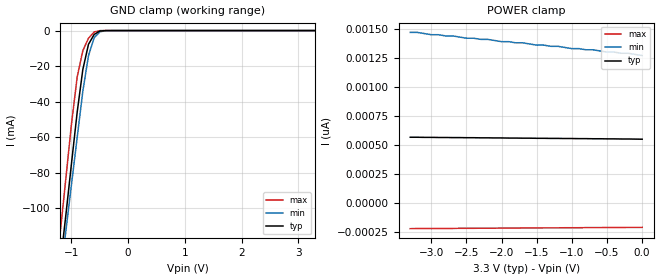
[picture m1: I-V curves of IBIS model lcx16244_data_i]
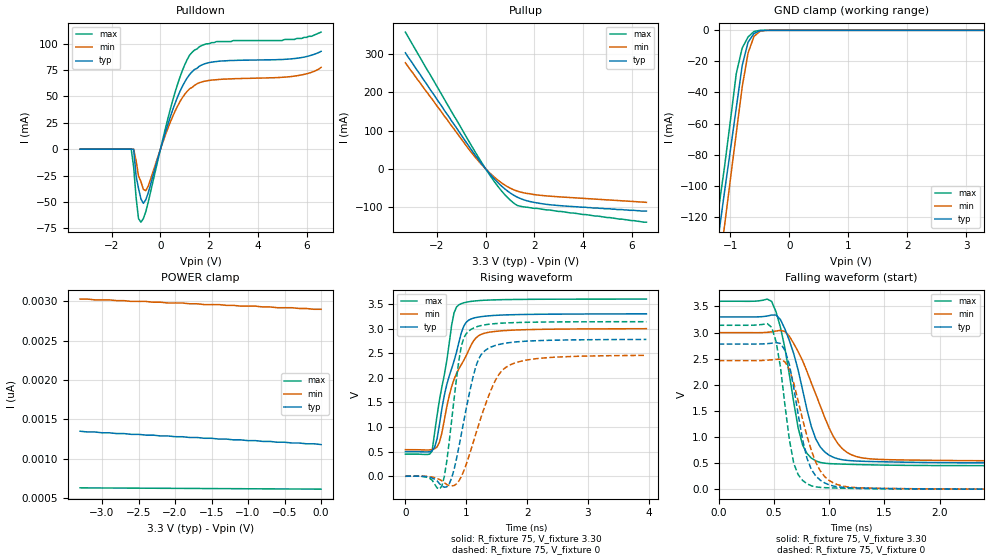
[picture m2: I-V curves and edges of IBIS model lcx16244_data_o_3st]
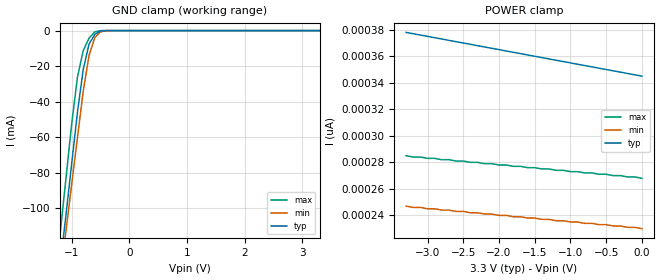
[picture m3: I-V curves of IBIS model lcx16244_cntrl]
|   ON Semiconductor Corporation
|   IBIS Model of 74LCX16244DT
|   Low Voltage 16-Bit Buffer
|   TSSOP_48 (DT) Package Type
[IBIS Ver]   3.2
[Comment Char]   |_char
[File name]   74lcx16244dt_c300.ibs
[File Rev]   1.0
[Date]   06/09/04
[Source]
From DC lab measurements and simulations for AC at ON Semiconductor
[Notes]
Created by Duane Mattheisen
Modeling Support Engineer
| This model represents the 74LCX16244DT where 3.0<= Vcc =< 3.6
[Disclaimer]
ON Semiconductor Corporation hereby grants
the user of this IBIS model a license to use this IBIS
model under the following terms. This license in non-exclusive
and non-transferable. Before using this IBIS model. After reading
the terms and conditions of this license, the user either must accept
these terms, or the IBIS model should be returned to ON within 30 days.
     The user is hereby granted a license to use the
IBIS model. This shall not be construed as a right to sell, or otherwise
profit either by leasing or renting this software.
     The user may modify the IBIS model to suit his specific applications
but rights to derivative works and such modifications shall belong to
ON Semiconductor.
     This IBIS model is provided on an "as is" basis. ON Semiconductor
makes absolutely no warranty with respect to the information contained
herein. By use of this IBIS model, the user assumes full risk as to the
quality and suitability of the model to his particular use, and by using
this model assumes the entire risk. Under all circumstances the user shall
not hold ON Semiconductor liable in any way for the results obtained. ON
Semiconductor reserves the right to make to improve the model for reliability,
function, or design. ON Semiconductor does not convey any license under patent
rights or any other intellectual property rights, including those of third
parties.
ON Semiconductor is not obligated to provide maintenance or support
for the licensed IBIS model.
Cont ON at ATTN:LOGIC APPLICATIONS/IBIS MODEL.
5005 E. McDowell Road, Phoenix AZ 85008
[Copyright]
(c) 2002 ON Semiconductor Corp.
[Component]   74LCX16244
Si_location Pin
Timing_location Pin
[Manufacturer]   ON Semiconductor Corp.
[Package]
R_pkg   130m   100m   140m
L_pkg   3.06n   1.37n   3.57n
C_pkg   0.15p   0.10p   0.20p
[Pin] signal_name   model_name   R_pin   L_pin   C_pin
1   OE1   lcx16244_cntrl   140m   3.56n   .2p
2   O0   lcx16244_data_o_3st  130m   3.34n   .15p
3   O1   lcx16244_data_o_3st  130m   3.07n   .15p
4   GND   GND   130m   2.62n   .13p
5   O2   lcx16244_data_o_3st  120m   2.23n   .1p
6   O3   lcx16244_data_o_3st  120m   1.77n   .1p
7   VCC   POWER   110m   1.65n   .1p
8   O4   lcx16244_data_o_3st  100m   1.59n   .1p
9   O5   lcx16244_data_o_3st  100m   1.53n   .1p
10   GND   GND   100m   1.49n   .1p
11   O6   lcx16244_data_o_3st  100m   1.44n   .1p
12   O7   lcx16244_data_o_3st  100m   1.36n   .1p
13   O8   lcx16244_data_o_3st  100m   1.37n   .1p
14   O9   lcx16244_data_o_3st  100m   1.44n   .1p
15   GND   GND   100m   1.48n   .1p
16   O10   lcx16244_data_o_3st  100m   1.54n   .1p
17   O11   lcx16244_data_o_3st  100m   1.58n   .1p
18   VCC   POWER   110m   1.65n   .1p
19   O12   lcx16244_data_o_3st  120m   1.76n   .1p
20   O13   lcx16244_data_o_3st  120m   2.22n   .1p
21   GND   GND   130m   2.62n   .12p
22   O14   lcx16244_data_o_3st  130m   3.05n   .15p
23   O15   lcx16244_data_o_3st  130m   3.34n   .15p
24   OE4   lcx16244_cntrl   140m   3.57n   .2p
25   OE3   lcx16244_cntrl   140m   3.56n   .2p
26   D15   lcx16244_data_i   130m   3.34n   .25p
27   D14   lcx16244_data_i   130m   3.06n   .15p
28   GND   GND   130m   2.63n   .12p
29   D13   lcx16244_data_i   120m   2.23n   .1p
30   D12   lcx16244_data_i   120m   1.76n   .1p
31   VCC   POWER   110m   1.66n   .1p
32   D11   lcx16244_data_i   100m   1.59n   .1p
33   D10   lcx16244_data_i   100m   1.53n   .1p
34   GND   GND   100m   1.49n   .1p
35   D9   lcx16244_data_i   100m   1.45n   .1p
36   D8   lcx16244_data_i   100m   1.37n   .1p
37   D7   lcx16244_data_i   100m   1.37n   .1p
38   D6   lcx16244_data_i   100m   1.43n   .1p
39   GND   GND   100m   1.49n   .1p
40   D5   lcx16244_data_i   100m   1.54n   .1p
41   D4   lcx16244_data_i   100m   1.58n   .1p
42   VCC   POWER   110m   1.65n   .1p
43   D3   lcx16244_data_i   120m   1.76n   .1p
44   D2   lcx16244_data_i   120m   2.22n   .1p
45   GND   GND   130m   2.62n   .12p
46   D1   lcx16244_data_i   130m   3.05n   .15p
47   D0   lcx16244_data_i   130m   3.34n   .25p
48   OE2   lcx16244_cntrl   140m   3.58n   .2p
| Models and submodels in the file (3): lcx16244_data_i (Input), lcx16244_data_o_3st (3-state), lcx16244_cntrl (Input)
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[Model]   lcx16244_data_i
Model_type Input
Vinh=2.0
Vinl=0.8
C_comp   7p   7p   7p
[Temperature Range] 25   85   -40
[Voltage Range]   3.3   3.0   3.6
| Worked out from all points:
|   GND clamp passes 1 mA (typ) near -0.54 V on its own axis
[GND Clamp]
|VIN   IIN   IIN   IIN
-3.3V     -737mA     -689mA     -763mA
-1.2V     -132mA     -139mA     -114mA
-1.1V     -104mA     -113mA     -83.4mA
-1V       -74.8mA    -86.5mA    -52.5mA
-900mV    -46mA      -60.3mA    -26.2mA
-800mV    -21.9mA    -34.1mA    -11.3mA
-700mV    -7.72mA    -14.1mA    -4.29mA
-600mV    -2.18mA    -4.02mA    -769uA
-500mV    -264uA     -735uA     -24.3uA
-400mV    -9.72uA    -53.6uA    -271nA
3.3V      2.02nA     2.24nA     595pA
[POWER Clamp]
| VIN   IIN   IIN   IIN
-3.3V     565pA      1.47nA     -224pA
-2.5V     561pA      1.42nA     -221pA
-2.2V     560pA      1.41nA     -220pA
-2V       559pA      1.39nA     -219pA
-1.7V     557pA      1.38nA     -218pA
-1.5V     556pA      1.36nA     -218pA
-1.2V     555pA      1.35nA     -217pA
-1V       554pA      1.33nA     -216pA
-700mV    552pA      1.32nA     -215pA
-500mV    551pA      1.3nA      -214pA
-200mV    550pA      1.29nA     -213pA
0V        548pA      1.27nA     -213pA
[Model]   lcx16244_data_o_3st
Model_type 3-state
Enable Active-Low
Polarity Non-Inverting
Vref=0
Cref=50p
Rref=500
Vmeas=1.5
C_comp   8p   8p   8p
[Temperature Range] 25   85   -40
[Voltage Range]   3.3   3.0   3.6
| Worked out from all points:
|   slope of the pulldown table from 0 to 0.495 V, typ, clamps not added: 13.5 ohm
|   slope of the pullup table from 0 to 0.495 V, typ, clamps not added: 14 ohm
|   GND clamp passes 1 mA (typ) near -0.54 V on its own axis
|   falling waveform, R_fixture 75, V_fixture 3.30: 20-80 % time 206ps typ, 284ps min, 158ps max; typ from 3.3 V to 0.5 V
|   falling waveform, R_fixture 75, V_fixture 0: 20-80 % time 151ps typ, 198ps min, 123ps max; typ from 2.78 V to 0 V
|   rising waveform, R_fixture 75, V_fixture 3.30: 20-80 % time 322ps typ, 398ps min, 246ps max; typ from 0.5 V to 3.3 V
|   rising waveform, R_fixture 75, V_fixture 0: 20-80 % time 284ps typ, 421ps min, 188ps max; typ from 0 V to 2.78 V
[Pullup]
|VOUT   IOUT   IOUT   IOUT
-3.3V     303mA      277mA      357mA
-700mV    60mA       52mA       73mA
-300mV    24.6mA     20.8mA     30.4mA
100mV     -7.72mA    -6.44mA    -9.74mA
500mV     -35.6mA    -29.2mA    -45.5mA
800mV     -52.9mA    -42.8mA    -68.2mA
1.1V      -66.7mA    -53mA      -86.5mA
1.3V      -73.8mA    -57.9mA    -95.4mA
1.5V      -79.2mA    -61.5mA    -98.5mA
1.9V      -86.3mA    -66.1mA    -102mA
2.5V      -92.5mA    -70.4mA    -107mA
6.6V      -110mA     -87.2mA    -139mA
[Pulldown]
|VOUT   IOUT   IOUT   IOUT
-3.3V     18uA       16uA       15uA
-1.2V     18uA       16uA       15uA
-1.1V     18uA       16uA       -16.6mA
-1V       -25.2mA    -10.7mA    -45.5mA
-900mV    -37.1mA    -25.3mA    -65.7mA
-800mV    -47.1mA    -30.7mA    -69.1mA
-600mV    -47.8mA    -39.2mA    -59.1mA
600mV     43.4mA     36mA       53.9mA
1.3V      73.4mA     58.6mA     91.8mA
2.3V      83.1mA     65.9mA     102mA
5.3V      85.5mA     68.7mA     104mA
6.6V      92.8mA     77.6mA     111mA
[GND Clamp]
|VOUT   IOUT   IOUT   IOUT
-3.3V     -703mA     -778mA     -682mA
-1.3V     -159mA     -185mA     -142mA
-1.2V     -132mA     -155mA     -115mA
-1.1V     -104mA     -126mA     -88mA
-1V       -77.1mA    -95.9mA    -58.2mA
-900mV    -49.9mA    -66.2mA    -27.8mA
-800mV    -22.7mA    -36.5mA    -11.4mA
-700mV    -7.66mA    -14.6mA    -4.29mA
-600mV    -2.08mA    -3.95mA    -732uA
-500mV    -238uA     -705uA     -21.8uA
-400mV    -8.31uA    -50uA      -231nA
3.3V      3.11nA     2.75nA     1.69nA
[POWER Clamp]
|VOUT   IOUT   IOUT   IOUT
-3.3V     1.35nA     3.03nA     630pA
-2.9V     1.33nA     3.02nA     628pA
-2.6V     1.31nA     3nA        626pA
-2.4V     1.3nA      3nA        625pA
-2.1V     1.29nA     2.98nA     624pA
-1.9V     1.28nA     2.98nA     623pA
-1.6V     1.26nA     2.96nA     621pA
-1.4V     1.25nA     2.96nA     620pA
-1.1V     1.24nA     2.94nA     619pA
-900mV    1.23nA     2.94nA     618pA
-600mV    1.21nA     2.92nA     616pA
0V        1.18nA     2.9nA      613pA
[Ramp]
dV/dt_r   1.67E+00/2.8E-10   1.47E+00/4.4E-10   1.88E+00/2E-10
dV/dt_f   1.68E+00/2E-10   1.48E+00/2.8E-10   1.89E+00/1.60E-10
[Falling Waveform]
R_fixture=75
C_fixture=0p
V_fixture=3.30
V_fixture_min=3.00
V_fixture_max=3.60
|Time   Typ   Min   Max
|SECONDS   VOLTS   VOLTS   VOLTS
0s        3.3V       3V         3.6V
480ps     3.336V     3.014V     3.597V
520ps     3.336V     3.029V     3.396V
600ps     3.069V     3.02V      2.706V
720ps     2.282V     2.635V     1.173V
760ps     1.904V     2.464V     848.4mV
880ps     958.8mV    1.816V     541.6mV
1.08ns    581.1mV    871.6mV    482.7mV
1.28ns    536.4mV    607.4mV    470.6mV
3.96ns    500mV      540mV      450mV
[Falling Waveform]
R_fixture=75
C_fixture=0p
V_fixture=0
|Time   Typ   Min   Max
|SECONDS   VOLTS   VOLTS   VOLTS
0s        2.78V      2.462V     3.14V
480ps     2.796V     2.478V     3.101V
520ps     2.808V     2.487V     2.831V
600ps     2.663V     2.439V     1.618V
680ps     1.944V     2.031V     495.5mV
760ps     950.5mV    1.341V     168.8mV
840ps     375.7mV    738.7mV    64.29mV
960ps     119.3mV    240.9mV    28.9mV
1.2ns     27.19mV    36.5mV     14.61mV
3.96ns    0V         0V         0V
[Rising Waveform]
R_fixture=75
C_fixture=0p
V_fixture=3.30
V_fixture_min=3.00
V_fixture_max=3.60
|Time   Typ   Min   Max
|SECONDS   VOLTS   VOLTS   VOLTS
0s        500mV      540mV      450mV
440ps     517.5mV    544.9mV    516.4mV
560ps     1.052V     691.4mV    1.551V
640ps     1.644V     1.143V     2.06V
760ps     2.186V     1.82V      3.068V
880ps     2.725V     2.185V     3.484V
1ns       3.129V     2.452V     3.536V
1.16ns    3.225V     2.811V     3.564V
1.36ns    3.258V     2.923V     3.579V
3.96ns    3.3V       3V         3.6V
[Rising Waveform]
R_fixture=75
C_fixture=0p
V_fixture=0
|Time   Typ   Min   Max
|SECONDS   VOLTS   VOLTS   VOLTS
0s        0V         0V         0V
600ps     -198.7mV   -93.61mV   -196mV
680ps     -214.9mV   -168.1mV   304.3mV
760ps     -36.43mV   -196.7mV   1.132V
920ps     859.1mV    -4.881mV   2.647V
1.08ns    1.848V     548.4mV    2.985V
1.28ns    2.521V     1.333V     3.071V
1.52ns    2.672V     2.037V     3.105V
1.72ns    2.717V     2.262V     3.118V
3.96ns    2.78V      2.456V     3.14V
[Model]   lcx16244_cntrl
Model_type Input
Vinh=2.0
Vinl=0.8
C_comp   7p   7p   7p
[Temperature Range] 25   85   -40
[Voltage Range]   3.3   3.0   3.6
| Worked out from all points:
|   GND clamp passes 1 mA (typ) near -0.54 V on its own axis
[GND Clamp]
|VIN   IIN   IIN   IIN
-3.3V     -737mA     -689mA     -763mA
-1.2V     -132mA     -139mA     -114mA
-1.1V     -104mA     -113mA     -83.4mA
-1V       -74.8mA    -86.5mA    -52.5mA
-900mV    -46mA      -60.3mA    -26.2mA
-800mV    -21.9mA    -34.1mA    -11.3mA
-700mV    -7.72mA    -14.1mA    -4.29mA
-600mV    -2.18mA    -4.02mA    -769uA
-500mV    -264uA     -735uA     -24.3uA
-400mV    -9.72uA    -53.6uA    -271nA
3.3V      202pA      468pA      4.33nA
[POWER Clamp]
|VIN   IIN   IIN   IIN
-3.3V     378pA      247pA      285pA
-3.2V     377pA      246pA      284pA
-3.1V     376pA      246pA      284pA
-3V       375pA      245pA      283pA
-2.9V     374pA      245pA      283pA
-2.8V     373pA      244pA      282pA
-2.7V     372pA      244pA      282pA
-2.6V     371pA      243pA      281pA
-1.7V     362pA      239pA      277pA
-1.6V     361pA      238pA      276pA
-500mV    350pA      233pA      271pA
0V        345pA      230pA      268pA
